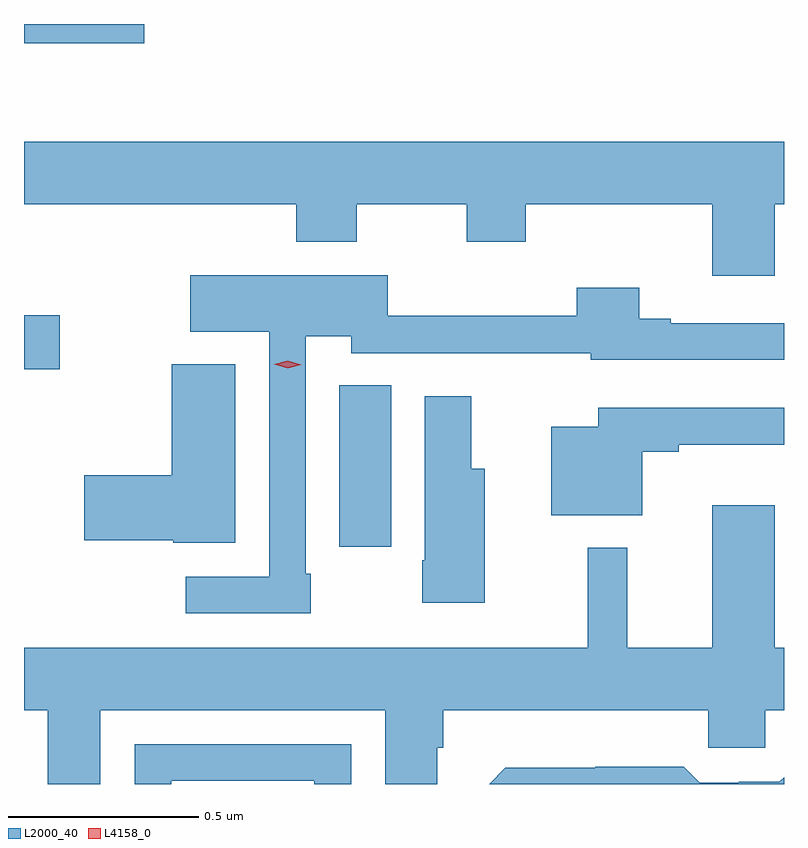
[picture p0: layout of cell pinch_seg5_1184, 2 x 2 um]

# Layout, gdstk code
import gdstk
lib = gdstk.Library(unit=1e-6, precision=1e-09)
def R(c, l, rs):  # rectangles x0, y0, x1, y1
    for r in rs: c.add(gdstk.rectangle(r[:2], r[2:], *l))
def P(c, l, *ps):  # polygons
    for p in ps: c.add(gdstk.Polygon(p, *l))
L2000_40 = (2000, 40)
L4158_0 = (4158, 0)

pinch_seg5_1184 = lib.new_cell('pinch_seg5_1184')
R(pinch_seg5_1184, L2000_40, [(883.307,839.874,883.444,840.299), (882.477,840.341,882.571,840.483), (882.477,841.199,882.793,841.25)])
P(pinch_seg5_1184, L2000_40, [(884.452,840.776),(884.477,840.776),(884.477,840.94),(882.477,840.94),(882.477,840.776),(883.193,840.776),(883.193,840.677),(883.353,840.677),(883.353,840.776),(883.642,840.776),(883.642,840.677),(883.797,840.677),(883.797,840.776),(884.288,840.776),(884.288,840.588),(884.452,840.588)],
  [(883.231,839.803),(883.218,839.803),(883.218,840.428),(883.338,840.428),(883.338,840.384),(883.75,840.384),(883.75,840.383),(883.968,840.383),(883.968,840.366),(884.477,840.366),(884.477,840.462),(884.179,840.462),(884.179,840.475),(884.096,840.475),(884.096,840.556),(883.931,840.556),(883.931,840.482),(883.434,840.482),(883.434,840.589),(882.915,840.589),(882.915,840.44),(883.122,840.44),(883.122,839.796),(882.903,839.796),(882.903,839.7),(883.231,839.7)],
  [(883.033,840.355),(882.866,840.355),(882.866,840.062),(882.636,840.062),(882.636,839.891),(882.87,839.891),(882.87,839.885),(883.033,839.885)],
  [(883.69,840.079),(883.654,840.079),(883.654,840.271),(883.532,840.271),(883.532,839.839),(883.525,839.839),(883.525,839.727),(883.69,839.727)],
  [(884.104,840.124),(884.2,840.124),(884.2,840.143),(884.477,840.143),(884.477,840.24),(883.988,840.24),(883.988,840.19),(883.865,840.19),(883.865,839.957),(884.104,839.957)],
  [(882.678,839.444),(883.428,839.444),(883.428,839.25),(883.565,839.25),(883.565,839.346),(883.58,839.346),(883.58,839.444),(884.277,839.444),(884.277,839.346),(884.427,839.346),(884.427,839.444),(884.477,839.444),(884.477,839.608),(884.452,839.608),(884.452,839.983),(884.288,839.983),(884.288,839.608),(884.064,839.608),(884.064,839.872),(883.96,839.872),(883.96,839.608),(882.477,839.608),(882.477,839.444),(882.539,839.444),(882.539,839.25),(882.678,839.25)],
  [(882.864,839.259),(883.241,839.259),(883.241,839.25),(883.338,839.25),(883.338,839.355),(882.768,839.355),(882.768,839.25),(882.864,839.25)],
  [(884.477,839.268),(884.465,839.256),(884.358,839.256),(884.358,839.253),(884.255,839.253),(884.213,839.296),(883.98,839.296),(883.98,839.293),(883.744,839.293),(883.701,839.25),(884.477,839.25)])
P(pinch_seg5_1184, L4158_0, [(883.171,840.344),(883.136,840.354),(883.136,840.354),(883.136,840.354),(883.171,840.364),(883.206,840.353),(883.206,840.353),(883.206,840.353)])

lib.write_gds('pinch_seg5_1184.gds')
